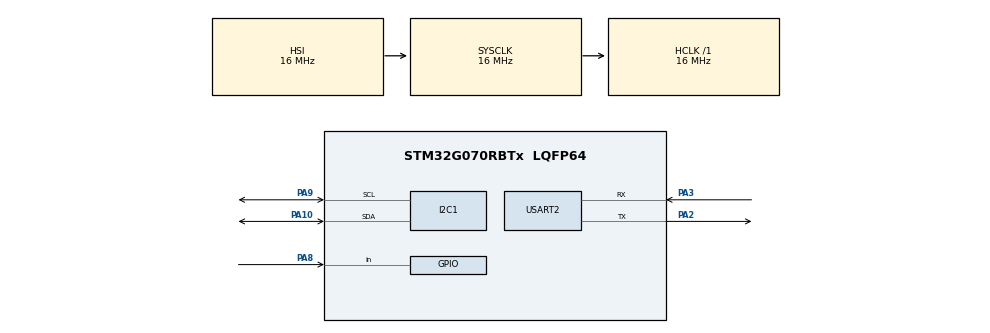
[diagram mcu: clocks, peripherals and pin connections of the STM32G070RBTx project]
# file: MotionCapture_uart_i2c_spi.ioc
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I2C1.Timing=0x00503D58
Mcu.Family=STM32G0
Mcu.Name=STM32G070RBTx
Mcu.Package=LQFP64
NVIC.TIM3_IRQn=true\:0\:0\:false\:false\:true\:true\:true\:true
PA10.Mode=I2C
PA10.Signal=I2C1_SDA
PA2.GPIO_PuPd=GPIO_PULLUP
PA2.Mode=Asynchronous
PA2.Signal=USART2_TX
PA3.GPIO_PuPd=GPIO_PULLUP
PA3.Mode=Asynchronous
PA3.Signal=USART2_RX
PA8.GPIO_PuPd=GPIO_NOPULL
PA8.Signal=GPIO_Input
PA9.Mode=I2C
PA9.Signal=I2C1_SCL
ProjectManager.HeapSize=0x200
ProjectManager.StackSize=0x400
ProjectManager.TargetToolchain=STM32CubeIDE
RCC.AHBFreq_Value=16000000
RCC.CortexFreq_Value=16000000
RCC.EXTERNAL_CLOCK_VALUE=12288000
RCC.HCLKFreq_Value=16000000
RCC.HSE_VALUE=8000000
RCC.HSI_VALUE=16000000
RCC.LSE_VALUE=32768
RCC.SYSCLKFreq_VALUE=16000000
RCC.VCOOutputFreq_Value=128000000
TIM3.Period=15999
USART2.VirtualMode-Asynchronous=VM_ASYNC
USART2.WordLength=WORDLENGTH_7B
VP_TIM3_VS_ClockSourceINT.Mode=Internal
board=NUCLEO-G070RB

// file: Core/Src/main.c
/* USER CODE BEGIN Header */
/**
  ******************************************************************************
  * @file           : main.c
  * @brief          : Main program body
  ******************************************************************************
  * @attention
  *
  * Copyright (c) 2026 STMicroelectronics.
  * All rights reserved.
  *
  * This software is licensed under terms that can be found in the LICENSE file
  * in the root directory of this software component.
  * If no LICENSE file comes with this software, it is provided AS-IS.
  *
  ******************************************************************************
  */
/* USER CODE END Header */
#include "main.h"

/* USER CODE BEGIN Includes */
#include <stdio.h>
#include <string.h>
#include "ssd1306.h"
#include "fonts.h"
/* USER CODE END Includes */

I2C_HandleTypeDef hi2c1;

TIM_HandleTypeDef htim3;

UART_HandleTypeDef huart2;

/* USER CODE BEGIN PV */
volatile uint8_t timer_flag = 0;
uint8_t motion_state = 0;
uint8_t prev_motion_state = GPIO_PIN_RESET;
char uart_buf[100];
/* USER CODE END PV */

void SystemClock_Config(void);
static void MX_GPIO_Init(void);
static void MX_I2C1_Init(void);
static void MX_TIM3_Init(void);
static void MX_USART2_UART_Init(void);

/* USER CODE BEGIN 0 */
/*UART Output*/
int _write(int file, char *ptr,int len){
	HAL_UART_Transmit(&huart2,(uint8_t *)ptr,len,HAL_MAX_DELAY);
	return len;
}

void HAL_TIM_PeriodElapsedCallback(TIM_HandleTypeDef *htim){
	if(htim->Instance == TIM3){
		timer_flag = 1;
	}

}
/* USER CODE END 0 */

int main(void)
{

  /* MCU Configuration--------------------------------------------------------*/

  /* Reset of all peripherals, Initializes the Flash interface and the Systick. */
  HAL_Init();

  /* Configure the system clock */
  SystemClock_Config();

  /* Initialize all configured peripherals */
  MX_GPIO_Init();
  MX_I2C1_Init();
  MX_TIM3_Init();
  MX_USART2_UART_Init();
  /* USER CODE BEGIN 2 */
  HAL_TIM_Base_Start_IT(&htim3);
  printf("System Start\r\n");

  ssd1306_Init(&hi2c1);
  ssd1306_Fill(Black);
  ssd1306_SetCursor(0, 0);
  ssd1306_WriteString("Hello OLED", Font_7x10, White);
  ssd1306_UpdateScreen(&hi2c1);
  HAL_Delay(5000);
  printf("PIR Ready\r\n");
  /* USER CODE END 2 */

  /* Infinite loop */
  while (1)
  {

    /* USER CODE BEGIN 3 */
	  ssd1306_Fill(Black);
	  ssd1306_SetCursor(0, 0);
	  ssd1306_WriteString("Motion Sensor", Font_7x10, White);
	  ssd1306_SetCursor(0, 20);
	  if(timer_flag){
		  timer_flag = 0;
		  motion_state = HAL_GPIO_ReadPin(GPIOA,GPIO_PIN_8);

		  if(motion_state != prev_motion_state){
			  if(motion_state == GPIO_PIN_SET){

				  printf("Motion Detected\r\n");
				  ssd1306_WriteString("Motion Detected", Font_7x10, White);
			  }else{
				  printf("No Motion\r\n");
				  ssd1306_WriteString("No Motion", Font_7x10, White);
			  }
			  ssd1306_UpdateScreen(&hi2c1);
			  prev_motion_state = motion_state;
		  }
	  }
  }
  /* USER CODE END 3 */
}

void SystemClock_Config(void)
{
  RCC_OscInitTypeDef RCC_OscInitStruct = {0};
  RCC_ClkInitTypeDef RCC_ClkInitStruct = {0};

  /** Configure the main internal regulator output voltage
  */
  HAL_PWREx_ControlVoltageScaling(PWR_REGULATOR_VOLTAGE_SCALE1);

  /** Initializes the RCC Oscillators according to the specified parameters
  * in the RCC_OscInitTypeDef structure.
  */
  RCC_OscInitStruct.OscillatorType = RCC_OSCILLATORTYPE_HSI;
  RCC_OscInitStruct.HSIState = RCC_HSI_ON;
  RCC_OscInitStruct.HSIDiv = RCC_HSI_DIV1;
  RCC_OscInitStruct.HSICalibrationValue = RCC_HSICALIBRATION_DEFAULT;
  RCC_OscInitStruct.PLL.PLLState = RCC_PLL_NONE;
  if (HAL_RCC_OscConfig(&RCC_OscInitStruct) != HAL_OK)
  {
    Error_Handler();
  }

  /** Initializes the CPU, AHB and APB buses clocks
  */
  RCC_ClkInitStruct.ClockType = RCC_CLOCKTYPE_HCLK|RCC_CLOCKTYPE_SYSCLK
                              |RCC_CLOCKTYPE_PCLK1;
  RCC_ClkInitStruct.SYSCLKSource = RCC_SYSCLKSOURCE_HSI;
  RCC_ClkInitStruct.AHBCLKDivider = RCC_SYSCLK_DIV1;
  RCC_ClkInitStruct.APB1CLKDivider = RCC_HCLK_DIV1;

  if (HAL_RCC_ClockConfig(&RCC_ClkInitStruct, FLASH_LATENCY_0) != HAL_OK)
  {
    Error_Handler();
  }
}

static void MX_I2C1_Init(void)
{

  hi2c1.Instance = I2C1;
  hi2c1.Init.Timing = 0x00503D58;
  hi2c1.Init.OwnAddress1 = 0;
  hi2c1.Init.AddressingMode = I2C_ADDRESSINGMODE_7BIT;
  hi2c1.Init.DualAddressMode = I2C_DUALADDRESS_DISABLE;
  hi2c1.Init.OwnAddress2 = 0;
  hi2c1.Init.OwnAddress2Masks = I2C_OA2_NOMASK;
  hi2c1.Init.GeneralCallMode = I2C_GENERALCALL_DISABLE;
  hi2c1.Init.NoStretchMode = I2C_NOSTRETCH_DISABLE;
  if (HAL_I2C_Init(&hi2c1) != HAL_OK)
  {
    Error_Handler();
  }

  /** Configure Analogue filter
  */
  if (HAL_I2CEx_ConfigAnalogFilter(&hi2c1, I2C_ANALOGFILTER_ENABLE) != HAL_OK)
  {
    Error_Handler();
  }

  /** Configure Digital filter
  */
  if (HAL_I2CEx_ConfigDigitalFilter(&hi2c1, 0) != HAL_OK)
  {
    Error_Handler();
  }

}

static void MX_TIM3_Init(void)
{

  TIM_ClockConfigTypeDef sClockSourceConfig = {0};
  TIM_MasterConfigTypeDef sMasterConfig = {0};

  htim3.Instance = TIM3;
  htim3.Init.Prescaler = 0;
  htim3.Init.CounterMode = TIM_COUNTERMODE_UP;
  htim3.Init.Period = 15999;
  htim3.Init.ClockDivision = TIM_CLOCKDIVISION_DIV1;
  htim3.Init.AutoReloadPreload = TIM_AUTORELOAD_PRELOAD_DISABLE;
  if (HAL_TIM_Base_Init(&htim3) != HAL_OK)
  {
    Error_Handler();
  }
  sClockSourceConfig.ClockSource = TIM_CLOCKSOURCE_INTERNAL;
  if (HAL_TIM_ConfigClockSource(&htim3, &sClockSourceConfig) != HAL_OK)
  {
    Error_Handler();
  }
  sMasterConfig.MasterOutputTrigger = TIM_TRGO_RESET;
  sMasterConfig.MasterSlaveMode = TIM_MASTERSLAVEMODE_DISABLE;
  if (HAL_TIMEx_MasterConfigSynchronization(&htim3, &sMasterConfig) != HAL_OK)
  {
    Error_Handler();
  }

}

static void MX_USART2_UART_Init(void)
{

  huart2.Instance = USART2;
  huart2.Init.BaudRate = 115200;
  huart2.Init.WordLength = UART_WORDLENGTH_8B;
  huart2.Init.StopBits = UART_STOPBITS_1;
  huart2.Init.Parity = UART_PARITY_NONE;
  huart2.Init.Mode = UART_MODE_TX_RX;
  huart2.Init.HwFlowCtl = UART_HWCONTROL_NONE;
  huart2.Init.OverSampling = UART_OVERSAMPLING_16;
  huart2.Init.OneBitSampling = UART_ONE_BIT_SAMPLE_DISABLE;
  huart2.Init.ClockPrescaler = UART_PRESCALER_DIV1;
  huart2.AdvancedInit.AdvFeatureInit = UART_ADVFEATURE_NO_INIT;
  if (HAL_UART_Init(&huart2) != HAL_OK)
  {
    Error_Handler();
  }
  if (HAL_UARTEx_SetTxFifoThreshold(&huart2, UART_TXFIFO_THRESHOLD_1_8) != HAL_OK)
  {
    Error_Handler();
  }
  if (HAL_UARTEx_SetRxFifoThreshold(&huart2, UART_RXFIFO_THRESHOLD_1_8) != HAL_OK)
  {
    Error_Handler();
  }
  if (HAL_UARTEx_DisableFifoMode(&huart2) != HAL_OK)
  {
    Error_Handler();
  }

}

static void MX_GPIO_Init(void)
{
  GPIO_InitTypeDef GPIO_InitStruct = {0};

  /* GPIO Ports Clock Enable */
  __HAL_RCC_GPIOA_CLK_ENABLE();

  /*Configure GPIO pin : PA8 */
  GPIO_InitStruct.Pin = GPIO_PIN_8;
  GPIO_InitStruct.Mode = GPIO_MODE_INPUT;
  GPIO_InitStruct.Pull = GPIO_NOPULL;
  HAL_GPIO_Init(GPIOA, &GPIO_InitStruct);

}

void Error_Handler(void)
{
  __disable_irq();
  while (1)
  {
  }
}
